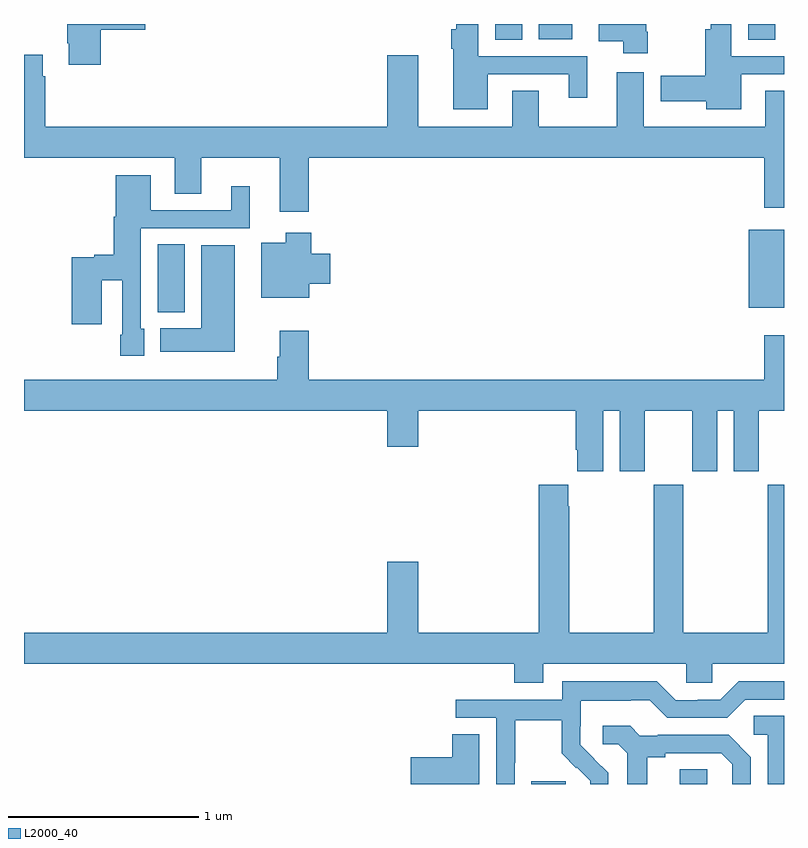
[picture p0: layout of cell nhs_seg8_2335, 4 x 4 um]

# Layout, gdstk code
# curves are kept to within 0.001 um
import gdstk
lib = gdstk.Library(unit=1e-6, precision=1e-09)
def R(c, l, rs):  # rectangles x0, y0, x1, y1
    for r in rs: c.add(gdstk.rectangle(r[:2], r[2:], *l))
def P(c, l, *ps):  # polygons
    for p in ps: c.add(gdstk.Polygon(p, *l))
L2000_40 = (2000, 40)

nhs_seg8_2335 = lib.new_cell('nhs_seg8_2335')
R(nhs_seg8_2335, L2000_40, [(261.671,1083.9,261.85,1083.915), (262.451,1083.9,262.596,1083.977), (259.703,1086.383,259.846,1086.74), (262.814,1086.407,263,1086.817), (261.479,1087.816,261.622,1087.9), (262.811,1087.816,262.954,1087.9), (261.71,1087.82,261.886,1087.9)])
P(nhs_seg8_2335, L2000_40, [(261.442,1087.635),(261.866,1087.635),(261.866,1087.512),(261.964,1087.512),(261.964,1087.731),(261.39,1087.731),(261.39,1087.9),(261.274,1087.9),(261.274,1087.873),(261.248,1087.873),(261.248,1087.769),(261.26,1087.769),(261.26,1087.451),(261.442,1087.451)],
  [(259.403,1087.871),(259.639,1087.871),(259.639,1087.9),(259.228,1087.9),(259.228,1087.798),(259.235,1087.798),(259.235,1087.686),(259.403,1087.686)],
  [(262.284,1087.858),(262.276,1087.858),(262.276,1087.9),(262.025,1087.9),(262.025,1087.808),(262.154,1087.808),(262.154,1087.746),(262.284,1087.746)],
  [(262.774,1087.635),(263,1087.635),(263,1087.731),(262.722,1087.731),(262.722,1087.9),(262.614,1087.9),(262.614,1087.873),(262.585,1087.873),(262.585,1087.628),(262.35,1087.628),(262.35,1087.493),(262.592,1087.493),(262.592,1087.451),(262.774,1087.451)],
  [(260.498,1087.196),(262.897,1087.196),(262.897,1086.933),(263,1086.933),(263,1087.55),(262.901,1087.55),(262.901,1087.36),(262.261,1087.36),(262.261,1087.645),(262.121,1087.645),(262.121,1087.36),(261.709,1087.36),(261.709,1087.55),(261.569,1087.55),(261.569,1087.36),(261.076,1087.36),(261.076,1087.735),(260.912,1087.735),(260.912,1087.36),(259.112,1087.36),(259.112,1087.625),(259.099,1087.625),(259.099,1087.738),(259,1087.738),(259,1087.196),(259.793,1087.196),(259.793,1087.006),(259.933,1087.006),(259.933,1087.196),(260.345,1087.196),(260.345,1086.912),(260.498,1086.912)],
  [(259.633,1086.297),(259.614,1086.297),(259.614,1086.825),(260.188,1086.825),(260.188,1087.045),(260.09,1087.045),(260.09,1086.921),(259.666,1086.921),(259.666,1087.105),(259.484,1087.105),(259.484,1086.885),(259.472,1086.885),(259.472,1086.686),(259.371,1086.686),(259.371,1086.673),(259.25,1086.673),(259.25,1086.321),(259.408,1086.321),(259.408,1086.551),(259.518,1086.551),(259.518,1086.265),(259.506,1086.265),(259.506,1086.153),(259.633,1086.153)],
  [(260.5,1086.533),(260.611,1086.533),(260.611,1086.691),(260.513,1086.691),(260.513,1086.802),(260.378,1086.802),(260.378,1086.748),(260.249,1086.748),(260.249,1086.458),(260.5,1086.458)],
  [(260.11,1086.736),(259.934,1086.736),(259.934,1086.298),(259.718,1086.298),(259.718,1086.176),(260.11,1086.176)],
  [(262.048,1085.864),(262.136,1085.864),(262.136,1085.547),(262.267,1085.547),(262.267,1085.864),(262.517,1085.864),(262.517,1085.547),(262.648,1085.547),(262.648,1085.864),(262.736,1085.864),(262.736,1085.547),(262.867,1085.547),(262.867,1085.864),(263,1085.864),(263,1086.262),(262.897,1086.262),(262.897,1086.028),(260.498,1086.028),(260.498,1086.286),(260.345,1086.286),(260.345,1086.149),(260.333,1086.149),(260.333,1086.028),(259,1086.028),(259,1085.864),(260.912,1085.864),(260.912,1085.676),(261.076,1085.676),(261.076,1085.864),(261.904,1085.864),(261.904,1085.659),(261.911,1085.659),(261.911,1085.547),(262.048,1085.547)],
  [(261.733,1084.532),(262.485,1084.532),(262.485,1084.434),(262.623,1084.434),(262.623,1084.532),(263,1084.532),(263,1085.476),(262.915,1085.476),(262.915,1084.696),(262.47,1084.696),(262.47,1085.476),(262.315,1085.476),(262.315,1084.696),(261.87,1084.696),(261.87,1085.363),(261.865,1085.363),(261.865,1085.476),(261.71,1085.476),(261.71,1084.696),(261.076,1084.696),(261.076,1085.071),(260.912,1085.071),(260.912,1084.696),(259,1084.696),(259,1084.532),(261.581,1084.532),(261.581,1084.433),(261.733,1084.433)],
  [(261.582,1084.012),(261.585,1084.012),(261.585,1084.236),(261.829,1084.236),(261.829,1084.061),(261.906,1083.984),(261.909,1083.987),(261.98,1083.917),(261.98,1083.9),(262.074,1083.9),(262.074,1083.958),(261.928,1084.106),(261.928,1084.203),(261.93,1084.203),(261.93,1084.337),(262.193,1084.337),(262.193,1084.341),(262.293,1084.341),(262.386,1084.248),(262.701,1084.248),(262.797,1084.344),(263,1084.344),(263,1084.44),(262.761,1084.44),(262.665,1084.344),(262.547,1084.344),(262.547,1084.341),(262.431,1084.341),(262.331,1084.441),(261.834,1084.441),(261.834,1084.344),(261.273,1084.344),(261.273,1084.248),(261.486,1084.248),(261.486,1083.9),(261.582,1083.9)],
  [(263,1084.259),(262.842,1084.259),(262.842,1084.158),(262.914,1084.158),(262.914,1083.9),(263,1083.9)],
  [(262.279,1084.04),(262.375,1084.04),(262.375,1084.062),(262.67,1084.062),(262.727,1084.005),(262.727,1083.9),(262.824,1083.9),(262.824,1084.042),(262.708,1084.158),(262.336,1084.158),(262.336,1084.155),(262.242,1084.155),(262.19,1084.207),(262.047,1084.207),(262.047,1084.11),(262.128,1084.11),(262.175,1084.063),(262.175,1083.9),(262.279,1083.9)],
  [(261.397,1084.163),(261.254,1084.163),(261.254,1084.04),(261.036,1084.04),(261.036,1083.9),(261.397,1083.9)])

lib.write_gds('nhs_seg8_2335.gds')
